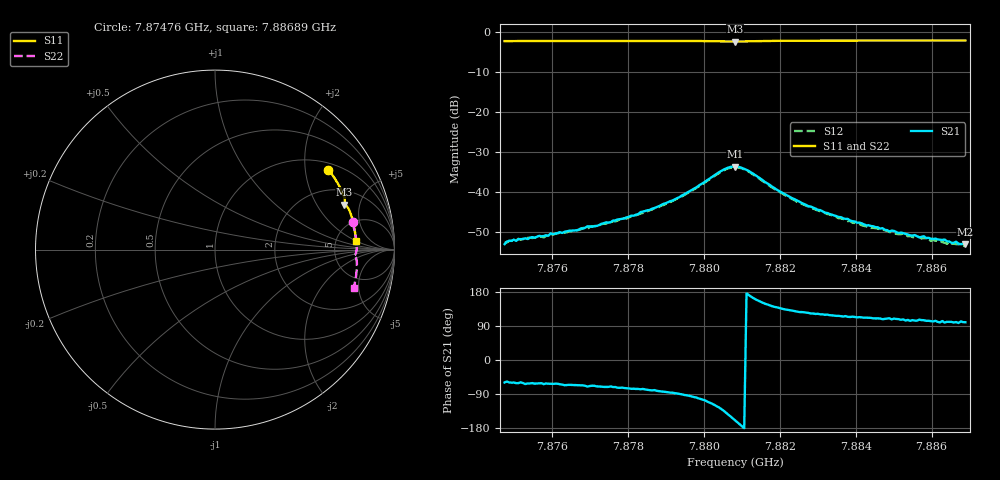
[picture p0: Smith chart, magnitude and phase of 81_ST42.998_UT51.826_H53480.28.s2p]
#  HZ  S  DB  R  50.00
! Rohde & Schwarz Vector Network Analyzer
! Rohde-Schwarz,ZNB20-2Port,1311601062101988,3.16
! Created: UTC 1/12/2023, 6:35:12 PM
! freq[Hz]  db:S11  ang:S11  db:S21  ang:S21  db:S12  ang:S12  db:S22  ang:S22
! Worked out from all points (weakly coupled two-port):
!   201 points, 7.87476 GHz to 7.88689 GHz, reference 50 ohm
!   highest |S21| = -33.70 dB at 7.88082 GHz (marker M1); lowest = -53.2 dB at 7.88689 GHz (marker M2)
!   lowest |S11| = -2.3 dB at 7.88082 GHz (marker M3), VSWR 7.44, Z = 148 + j178 ohm
!   |S11| at or under -10 dB: nowhere
!   |S22| runs from -2.2 to -1.9 dB; largest |S21 - S12| = 0.0013
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7.874758e9  -2.24 35.2  -53.16 -59.2  -52.70 -61.0  -2.14 11.2
7.874819e9  -2.23 35.1  -52.52 -56.7  -52.75 -61.1  -2.14 11.0
7.875001e9  -2.23 34.6  -52.02 -59.5  -52.21 -62.1  -2.14 10.6
7.875062e9  -2.23 34.4  -52.33 -61.1  -52.25 -62.7  -2.14 10.4
7.875122e9  -2.22 34.2  -51.90 -61.0  -51.81 -62.4  -2.14 10.3
7.87579e9  -2.21 32.4  -51.12 -63.8  -51.48 -64.8  -2.12 8.7
7.876821e9  -2.19 29.6  -49.28 -66.9  -49.09 -71.0  -2.09 6.3
7.876942e9  -2.20 29.2  -48.68 -70.2  -49.23 -72.3  -2.09 6.0
7.877185e9  -2.19 28.6  -48.60 -69.7  -48.62 -73.1  -2.08 5.4
7.877973e9  -2.18 26.4  -46.41 -74.5  -46.73 -77.7  -2.06 3.6
7.878822e9  -2.18 24.0  -43.64 -82.1  -43.86 -85.2  -2.05 1.6
7.879671e9  -2.20 21.6  -39.67 -95.8  -39.91 -99.5  -2.07 -0.5
7.880521e9  -2.31 19.4  -34.49 -133.5  -34.68 -136.8  -2.19 -2.4
7.880824e9  -2.35 19.2  -33.70 -159.1  -33.89 -162.4  -2.22 -2.5
7.881127e9  -2.30 18.9  -34.53 175.6  -34.64 172.1  -2.18 -2.5
7.882158e9  -2.16 16.3  -40.75 133.3  -41.00 130.1  -2.02 -4.7
7.882886e9  -2.13 14.2  -44.03 122.6  -44.26 120.1  -1.98 -6.5
7.883917e9  -2.11 11.5  -47.41 114.4  -47.82 111.3  -1.96 -8.8
7.884706e9  -2.10 9.3  -49.15 107.6  -49.45 105.7  -1.94 -10.6
7.884888e9  -2.09 8.9  -50.00 110.2  -50.12 105.1  -1.94 -11.0
7.885009e9  -2.10 8.6  -49.85 109.3  -50.24 104.0  -1.94 -11.3
7.886889e9  -2.08 3.6  -53.22 99.7  -53.67 97.2  -1.92 -15.3
